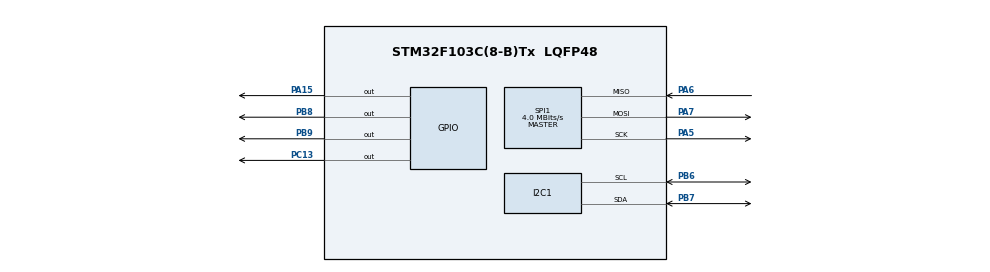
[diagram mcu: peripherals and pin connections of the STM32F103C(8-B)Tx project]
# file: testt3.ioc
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FREERTOS.Tasks01=defaultTask,0,128,StartDefaultTask,Default,NULL,Dynamic,NULL,NULL
Mcu.Family=STM32F1
Mcu.Name=STM32F103C(8-B)Tx
Mcu.Package=LQFP48
NVIC.PriorityGroup=NVIC_PRIORITYGROUP_4
NVIC.TIM4_IRQn=true\:15\:0\:false\:false\:true\:false\:false\:true\:true
NVIC.TimeBase=TIM4_IRQn
NVIC.TimeBaseIP=TIM4
PA13.Mode=Serial_Wire
PA13.Signal=SYS_JTMS-SWDIO
PA14.Mode=Serial_Wire
PA14.Signal=SYS_JTCK-SWCLK
PA15.Signal=GPIO_Output
PA5.Mode=Full_Duplex_Master
PA5.Signal=SPI1_SCK
PA6.Mode=Full_Duplex_Master
PA6.Signal=SPI1_MISO
PA7.Mode=Full_Duplex_Master
PA7.Signal=SPI1_MOSI
PB6.Mode=I2C
PB6.Signal=I2C1_SCL
PB7.Mode=I2C
PB7.Signal=I2C1_SDA
PB8.Signal=GPIO_Output
PB9.Signal=GPIO_Output
PC13-TAMPER-RTC.Signal=GPIO_Output
PD0-OSC_IN.Mode=HSE-External-Oscillator
PD0-OSC_IN.Signal=RCC_OSC_IN
PD1-OSC_OUT.Mode=HSE-External-Oscillator
PD1-OSC_OUT.Signal=RCC_OSC_OUT
ProjectManager.HeapSize=0x200
ProjectManager.StackSize=0x400
ProjectManager.TargetToolchain=MDK-ARM V5.32
RCC.APB1Freq_Value=8000000
RCC.APB2Freq_Value=8000000
SPI1.CalculateBaudRate=4.0 MBits/s
SPI1.Direction=SPI_DIRECTION_2LINES
SPI1.Mode=SPI_MODE_MASTER
SPI1.VirtualType=VM_MASTER
VP_FREERTOS_VS_CMSIS_V1.Mode=CMSIS_V1
VP_SYS_VS_tim4.Mode=TIM4
board=custom

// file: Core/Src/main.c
/* USER CODE BEGIN Header */
/**
  ******************************************************************************
  * @file           : main.c
  * @brief          : Main program body
  ******************************************************************************
  * @attention
  *
  * Copyright (c) 2024 STMicroelectronics.
  * All rights reserved.
  *
  * This software is licensed under terms that can be found in the LICENSE file
  * in the root directory of this software component.
  * If no LICENSE file comes with this software, it is provided AS-IS.
  *
  ******************************************************************************
  */
/* USER CODE END Header */
#include "main.h"
#include "cmsis_os.h"

/* USER CODE BEGIN Includes */
#include "string.h"
#include "MPU6050.h"
#include "MY_NRF24.h"
#include "stdio.h"
/* USER CODE END Includes */

I2C_HandleTypeDef hi2c1;

SPI_HandleTypeDef hspi1;

TaskHandle_t Task1_Handle;

/* USER CODE BEGIN PV */
TaskHandle_t Task2_Handle;
/* USER CODE END PV */

void SystemClock_Config(void);
static void MX_GPIO_Init(void);
static void MX_SPI1_Init(void);
static void MX_I2C1_Init(void);
void Start_Task1(void * Param);

/* USER CODE BEGIN PFP */
void Start_Task2(void * Param);
/* USER CODE END PFP */

/* USER CODE BEGIN 0 */
uint64_t TxpipeAddrs = 0x11223344AA;
char myTxData[32];
int16_t ax;
int16_t ay;
uint8_t Speed_index =0;
uint8_t Tx_command =0;

/* USER CODE END 0 */

int main(void)
{

  /* MCU Configuration--------------------------------------------------------*/

  /* Reset of all peripherals, Initializes the Flash interface and the Systick. */
  HAL_Init();

  /* Configure the system clock */
  SystemClock_Config();

  /* Initialize all configured peripherals */
  MX_GPIO_Init();
  MX_SPI1_Init();
  MX_I2C1_Init();
  /* USER CODE BEGIN 2 */
	mpu6050_init();
	NRF24_begin(GPIOB, GPIO_PIN_9, GPIO_PIN_8, hspi1);
	//NRF24_begin(GPIOB, CSNpin_Pin, CEpin_Pin, hspi1);
	NRF24_stopListening();
	NRF24_openWritingPipe(TxpipeAddrs);
	NRF24_setAutoAck(true);
	NRF24_setChannel(52);
	NRF24_setPayloadSize(32);
	NRF24_enableDynamicPayloads();
	NRF24_enableAckPayload();
  /* USER CODE END 2 */

  /* Create the thread(s) */
  /* definition and creation of defaultTask */
	xTaskCreate(Start_Task1, "Task1", 128, NULL, osPriorityNormal,Task1_Handle);

  /* USER CODE BEGIN RTOS_THREADS */

	xTaskCreate(Start_Task2, "Task2", 128, NULL, osPriorityAboveNormal,Task2_Handle);
  /* add threads, ... */
  /* USER CODE END RTOS_THREADS */

  /* Start scheduler */
  osKernelStart();

  /* We should never get here as control is now taken by the scheduler */
  /* Infinite loop */
  while (1)
  {

  }
}

void SystemClock_Config(void)
{
  RCC_OscInitTypeDef RCC_OscInitStruct = {0};
  RCC_ClkInitTypeDef RCC_ClkInitStruct = {0};

  /** Initializes the RCC Oscillators according to the specified parameters
  * in the RCC_OscInitTypeDef structure.
  */
  RCC_OscInitStruct.OscillatorType = RCC_OSCILLATORTYPE_HSI;
  RCC_OscInitStruct.HSIState = RCC_HSI_ON;
  RCC_OscInitStruct.HSICalibrationValue = RCC_HSICALIBRATION_DEFAULT;
  RCC_OscInitStruct.PLL.PLLState = RCC_PLL_NONE;
  if (HAL_RCC_OscConfig(&RCC_OscInitStruct) != HAL_OK)
  {
    Error_Handler();
  }

  /** Initializes the CPU, AHB and APB buses clocks
  */
  RCC_ClkInitStruct.ClockType = RCC_CLOCKTYPE_HCLK|RCC_CLOCKTYPE_SYSCLK
                              |RCC_CLOCKTYPE_PCLK1|RCC_CLOCKTYPE_PCLK2;
  RCC_ClkInitStruct.SYSCLKSource = RCC_SYSCLKSOURCE_HSI;
  RCC_ClkInitStruct.AHBCLKDivider = RCC_SYSCLK_DIV1;
  RCC_ClkInitStruct.APB1CLKDivider = RCC_HCLK_DIV1;
  RCC_ClkInitStruct.APB2CLKDivider = RCC_HCLK_DIV1;

  if (HAL_RCC_ClockConfig(&RCC_ClkInitStruct, FLASH_LATENCY_0) != HAL_OK)
  {
    Error_Handler();
  }
}

static void MX_I2C1_Init(void)
{

  hi2c1.Instance = I2C1;
  hi2c1.Init.ClockSpeed = 100000;
  hi2c1.Init.DutyCycle = I2C_DUTYCYCLE_2;
  hi2c1.Init.OwnAddress1 = 0;
  hi2c1.Init.AddressingMode = I2C_ADDRESSINGMODE_7BIT;
  hi2c1.Init.DualAddressMode = I2C_DUALADDRESS_DISABLE;
  hi2c1.Init.OwnAddress2 = 0;
  hi2c1.Init.GeneralCallMode = I2C_GENERALCALL_DISABLE;
  hi2c1.Init.NoStretchMode = I2C_NOSTRETCH_DISABLE;
  if (HAL_I2C_Init(&hi2c1) != HAL_OK)
  {
    Error_Handler();
  }

}

static void MX_SPI1_Init(void)
{

  /* SPI1 parameter configuration*/
  hspi1.Instance = SPI1;
  hspi1.Init.Mode = SPI_MODE_MASTER;
  hspi1.Init.Direction = SPI_DIRECTION_2LINES;
  hspi1.Init.DataSize = SPI_DATASIZE_8BIT;
  hspi1.Init.CLKPolarity = SPI_POLARITY_LOW;
  hspi1.Init.CLKPhase = SPI_PHASE_1EDGE;
  hspi1.Init.NSS = SPI_NSS_SOFT;
  hspi1.Init.BaudRatePrescaler = SPI_BAUDRATEPRESCALER_2;
  hspi1.Init.FirstBit = SPI_FIRSTBIT_MSB;
  hspi1.Init.TIMode = SPI_TIMODE_DISABLE;
  hspi1.Init.CRCCalculation = SPI_CRCCALCULATION_DISABLE;
  hspi1.Init.CRCPolynomial = 10;
  if (HAL_SPI_Init(&hspi1) != HAL_OK)
  {
    Error_Handler();
  }

}

static void MX_GPIO_Init(void)
{
  GPIO_InitTypeDef GPIO_InitStruct = {0};

  /* GPIO Ports Clock Enable */
  __HAL_RCC_GPIOC_CLK_ENABLE();
  __HAL_RCC_GPIOD_CLK_ENABLE();
  __HAL_RCC_GPIOA_CLK_ENABLE();
  __HAL_RCC_GPIOB_CLK_ENABLE();

  /*Configure GPIO pin Output Level */
  HAL_GPIO_WritePin(GPIOC, GPIO_PIN_13, GPIO_PIN_RESET);

  /*Configure GPIO pin Output Level */
  HAL_GPIO_WritePin(GPIOA, GPIO_PIN_15, GPIO_PIN_RESET);

  /*Configure GPIO pin Output Level */
  HAL_GPIO_WritePin(GPIOB, GPIO_PIN_8|GPIO_PIN_9, GPIO_PIN_RESET);

  /*Configure GPIO pin : PC13 */
  GPIO_InitStruct.Pin = GPIO_PIN_13;
  GPIO_InitStruct.Mode = GPIO_MODE_OUTPUT_PP;
  GPIO_InitStruct.Pull = GPIO_NOPULL;
  GPIO_InitStruct.Speed = GPIO_SPEED_FREQ_LOW;
  HAL_GPIO_Init(GPIOC, &GPIO_InitStruct);

  /*Configure GPIO pin : PA15 */
  GPIO_InitStruct.Pin = GPIO_PIN_15;
  GPIO_InitStruct.Mode = GPIO_MODE_OUTPUT_PP;
  GPIO_InitStruct.Pull = GPIO_NOPULL;
  GPIO_InitStruct.Speed = GPIO_SPEED_FREQ_LOW;
  HAL_GPIO_Init(GPIOA, &GPIO_InitStruct);

  /*Configure GPIO pins : PB8 PB9 */
  GPIO_InitStruct.Pin = GPIO_PIN_8|GPIO_PIN_9;
  GPIO_InitStruct.Mode = GPIO_MODE_OUTPUT_PP;
  GPIO_InitStruct.Pull = GPIO_NOPULL;
  GPIO_InitStruct.Speed = GPIO_SPEED_FREQ_LOW;
  HAL_GPIO_Init(GPIOB, &GPIO_InitStruct);

}

/* USER CODE BEGIN 4 */
void Start_Task2(void  * Param)
{
  while(1)
  {
		ax =mpu6050_read_x();
		ay =mpu6050_read_y();
		if((ay<=-3000)||((ay>=3000)))
		{
			if((ax>=-3000)||((ax<=3000)))
			{
				if((ay<=-3000))
				{
						Tx_command = 1;
						Speed_index = (ay + 3000)/-1000 + 1;
						if(Speed_index>4)
						{
							Speed_index = 4;
						}
				}

				if((ay>=3000))
				{
						Tx_command = 2;
						Speed_index = (ay - 3000)/1000 + 1;
						if(Speed_index>4)
						{
							Speed_index = 4;
						}
				}
    }
    else
    {
        Tx_command = 0;
        Speed_index = 0;
    }
  }
  else if((ax<=-3000)||((ax>=3000)))
  {
    if((ay>=-3000)||((ay<=3000)))
    {
      if((ax<=-3000))
      {
          Tx_command = 4;
          Speed_index = (ax + 3000)/-1000 + 1;
          if(Speed_index>4)
          {
            Speed_index = 4;
          }
      }
      if((ax>=4000))
      {
          Tx_command = 3;
          Speed_index = (ax - 3000)/1000 + 1;
          if(Speed_index>4)
          {
            Speed_index = 4;
          }
      }
    }
    else
    {
        Tx_command = 	0;
        Speed_index = 0;
    }
  }
  else
  {
      Tx_command = 0;
      Speed_index = 0;
  }

    osDelay(1);
  }
}
/* USER CODE END 4 */

void Start_Task1(void * Param)
{
  /* USER CODE BEGIN 5 */
  /* Infinite loop */
  for(;;)
  {
		myTxData[0] =Tx_command;
		myTxData[1] =Speed_index;

		NRF24_write(myTxData, 32);
    osDelay(1);
  }
  /* USER CODE END 5 */
}

void HAL_TIM_PeriodElapsedCallback(TIM_HandleTypeDef *htim)
{
  if (htim->Instance == TIM4) {
    HAL_IncTick();
  }
}

void Error_Handler(void)
{
  __disable_irq();
  while (1)
  {
  }
}
